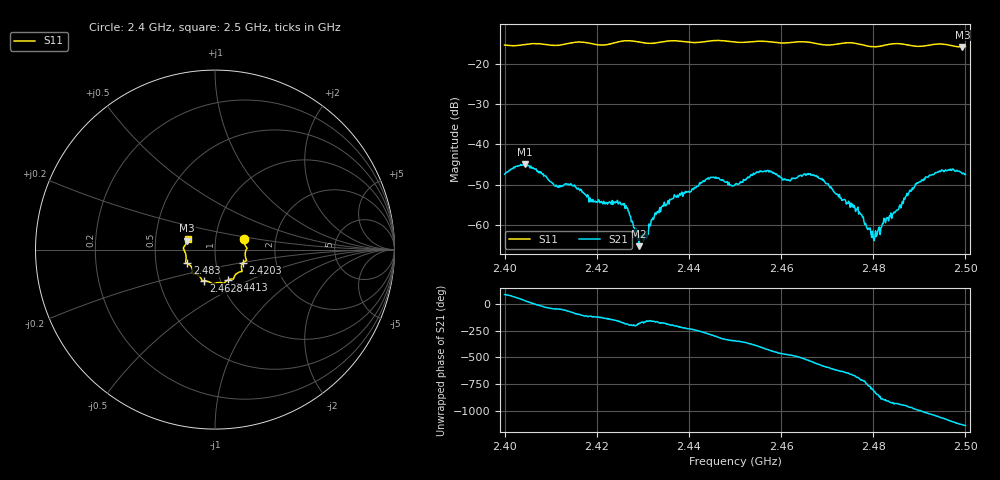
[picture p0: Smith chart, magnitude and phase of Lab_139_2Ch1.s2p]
# Hz S RI R 50
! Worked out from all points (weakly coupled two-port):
!   601 points, 2.4 GHz to 2.5 GHz, reference 50 ohm
!   highest |S21| = -44.83 dB at 2.4043 GHz (marker M1); lowest = -65.2 dB at 2.4292 GHz (marker M2)
!   lowest |S11| = -15.8 dB at 2.4993 GHz (marker M3), VSWR 1.39, Z = 36.5 + j3.72 ohm
!   |S11| at or under -10 dB: start of sweep to end of sweep
!   S12 and S22 are empty: the file has one direction only
!   S11 on the Smith chart (normalised r, x): 2.4 GHz: 1.37, +0.16; 2.4203 GHz: 1.35, -0.21; 2.4413 GHz: 1.09, -0.38; 2.4628 GHz: 0.83, -0.30; 2.483 GHz: 0.72, -0.11; 2.5 GHz: 0.73, +0.09
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2.4e9  0.1611 0.0571  -0.000218 0.00428  0 0  0 0
2.404333e9  0.1731 0.016  0.00464 0.00338  0 0  0 0
2.411167e9  0.1678 -0.0226  0.00226 -0.00218  0 0  0 0
2.416667e9  0.1759 -0.0615  -0.000583 -0.00266  0 0  0 0
2.420333e9  0.1553 -0.074  -0.00109 -0.00176  0 0  0 0
2.426167e9  0.1519 -0.1195  -0.0016 0.000104  0 0  0 0
2.429167e9  0.1398 -0.1235  -0.000548 1.96e-05  0 0  0 0
2.430667e9  0.1262 -0.1295  -0.000732 -0.000243  0 0  0 0
2.433333e9  0.108 -0.1484  -0.00146 -0.000313  0 0  0 0
2.441333e9  0.0746 -0.168  -0.00144 0.00256  0 0  0 0
2.445e9  0.0525 -0.1865  0.0012 0.00372  0 0  0 0
2.45e9  0.0291 -0.1838  0.00302 0.000993  0 0  0 0
2.455833e9  -0.0114 -0.1906  0.00319 -0.00332  0 0  0 0
2.462833e9  -0.063 -0.1746  -0.00218 -0.00314  0 0  0 0
2.466667e9  -0.0744 -0.1674  -0.00424 -0.000118  0 0  0 0
2.476167e9  -0.1252 -0.1295  0.0011 0.000993  0 0  0 0
2.479833e9  -0.1306 -0.0979  0.000123 -0.00083  0 0  0 0
2.483e9  -0.1548 -0.0767  -0.00122 0.000228  0 0  0 0
2.483333e9  -0.1569 -0.0756  -0.00111 0.000216  0 0  0 0
2.491833e9  -0.1692 -0.0084  0.00231 0.00318  0 0  0 0
2.499333e9  -0.1543 0.0497  0.00255 -0.00352  0 0  0 0
2.5e9  -0.1528 0.0587  0.00211 -0.00371  0 0  0 0
